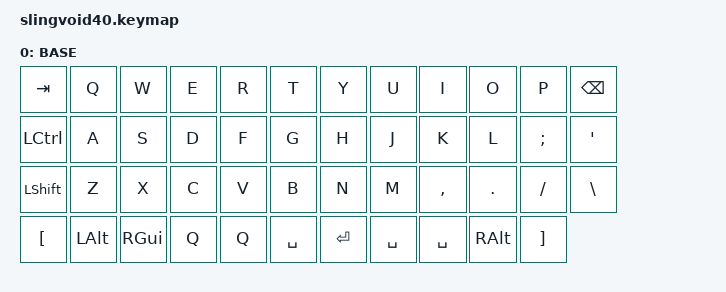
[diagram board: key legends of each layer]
#include <behaviors.dtsi>
#include <dt-bindings/zmk/keys.h>
#include <dt-bindings/zmk/bt.h>

#define BASE 0

/ {
    keymap {
        compatible = "zmk,keymap";

        default_layer {
            label = "BASE";
            bindings = <
                &kp TAB   &kp Q     &kp W     &kp E     &kp R     &kp T     &kp Y     &kp U     &kp I     &kp O     &kp P     &kp BSPC
                &kp LCTRL &kp A     &kp S     &kp D     &kp F     &kp G     &kp H     &kp J     &kp K     &kp L     &kp SEMI  &kp APOS
                &kp LSHFT  &kp Z     &kp X     &kp C     &kp V     &kp B     &kp N     &kp M     &kp COMMA  &kp DOT   &kp SLASH  &kp BSLH
                &kp LBKT  &kp LALT  &kp RGUI   &kp Q  &kp Q   &kp SPACE  &kp ENTER  &kp SPACE   &kp SPACE   &kp RALT  &kp RBKT
            >;

        };

        };
    };
